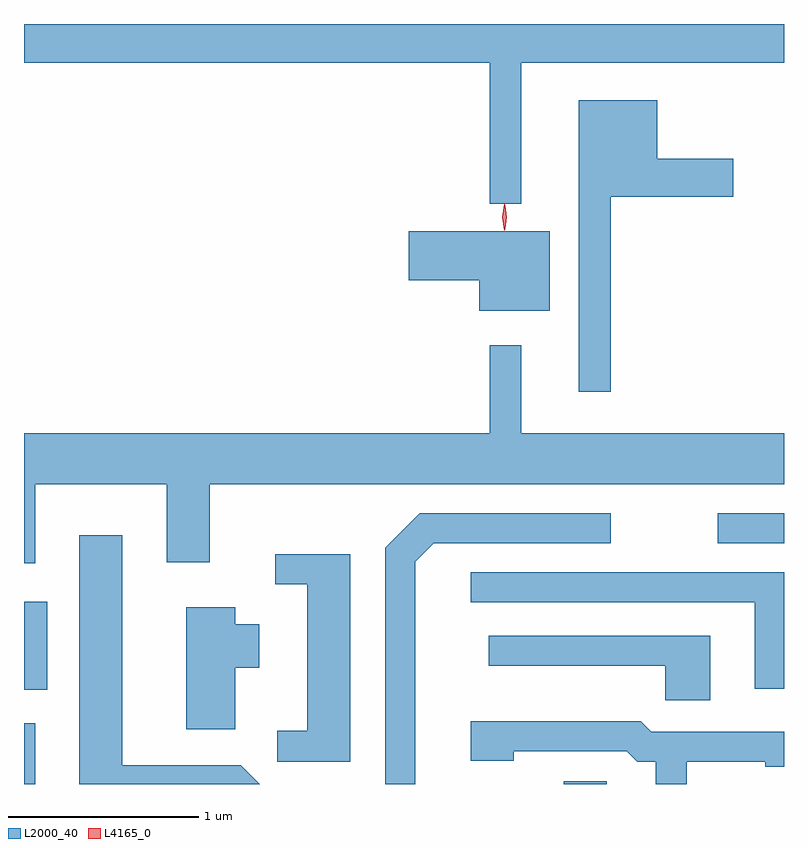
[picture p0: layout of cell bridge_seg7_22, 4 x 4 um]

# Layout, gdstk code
import gdstk
lib = gdstk.Library(unit=1e-6, precision=1e-09)
def R(c, l, rs):  # rectangles x0, y0, x1, y1
    for r in rs: c.add(gdstk.rectangle(r[:2], r[2:], *l))
def P(c, l, *ps):  # polygons
    for p in ps: c.add(gdstk.Polygon(p, *l))
L2000_40 = (2000, 40)
L4165_0 = (4165, 0)

bridge_seg7_22 = lib.new_cell('bridge_seg7_22')
R(bridge_seg7_22, L2000_40, [(1740.631,1741.599,1740.689,1741.919), (1743.471,1741.599,1743.699,1741.614), (1740.631,1742.096,1740.754,1742.559), (1744.283,1742.866,1744.631,1743.024)])
P(bridge_seg7_22, L2000_40, [(1743.249,1745.396),(1744.631,1745.396),(1744.631,1745.599),(1740.631,1745.599),(1740.631,1745.396),(1743.081,1745.396),(1743.081,1744.653),(1743.249,1744.653)],
  [(1743.719,1744.691),(1744.364,1744.691),(1744.364,1744.889),(1743.964,1744.889),(1743.964,1745.199),(1743.551,1745.199),(1743.551,1743.663),(1743.719,1743.663)],
  [(1743.399,1744.509),(1742.656,1744.509),(1742.656,1744.251),(1743.026,1744.251),(1743.026,1744.091),(1743.399,1744.091)],
  [(1740.689,1743.176),(1741.381,1743.176),(1741.381,1742.766),(1741.609,1742.766),(1741.609,1743.176),(1744.631,1743.176),(1744.631,1743.444),(1743.249,1743.444),(1743.249,1743.908),(1743.081,1743.908),(1743.081,1743.444),(1740.631,1743.444),(1740.631,1742.761),(1740.689,1742.761)],
  [(1742.689,1742.769),(1742.787,1742.866),(1743.718,1742.866),(1743.718,1743.024),(1742.714,1743.024),(1742.531,1742.842),(1742.531,1741.599),(1742.689,1741.599)],
  [(1741.772,1741.699),(1741.149,1741.699),(1741.149,1742.909),(1740.921,1742.909),(1740.921,1741.599),(1741.872,1741.599)],
  [(1742.349,1742.809),(1741.953,1742.809),(1741.953,1742.651),(1742.121,1742.651),(1742.121,1741.879),(1741.963,1741.879),(1741.963,1741.716),(1742.349,1741.716)],
  [(1744.631,1742.714),(1742.983,1742.714),(1742.983,1742.556),(1744.476,1742.556),(1744.476,1742.101),(1744.631,1742.101)],
  [(1741.744,1742.211),(1741.869,1742.211),(1741.869,1742.439),(1741.744,1742.439),(1741.744,1742.529),(1741.486,1742.529),(1741.486,1741.886),(1741.744,1741.886)],
  [(1744.244,1742.379),(1743.078,1742.379),(1743.078,1742.221),(1744.006,1742.221),(1744.006,1742.041),(1744.244,1742.041)],
  [(1744.119,1741.716),(1744.531,1741.716),(1744.531,1741.691),(1744.631,1741.691),(1744.631,1741.874),(1743.932,1741.874),(1743.877,1741.929),(1742.981,1741.929),(1742.981,1741.721),(1743.209,1741.721),(1743.209,1741.771),(1743.804,1741.771),(1743.859,1741.716),(1743.956,1741.716),(1743.956,1741.599),(1744.119,1741.599)])
P(bridge_seg7_22, L4165_0, [(1743.159,1744.514),(1743.159,1744.514),(1743.149,1744.582),(1743.159,1744.65),(1743.159,1744.65),(1743.16,1744.65),(1743.169,1744.582),(1743.16,1744.514)],
  [(1743.162,1744.52),(1743.162,1744.52),(1743.152,1744.583),(1743.162,1744.646),(1743.162,1744.647),(1743.163,1744.646),(1743.172,1744.583),(1743.163,1744.52)])

lib.write_gds('bridge_seg7_22.gds')
